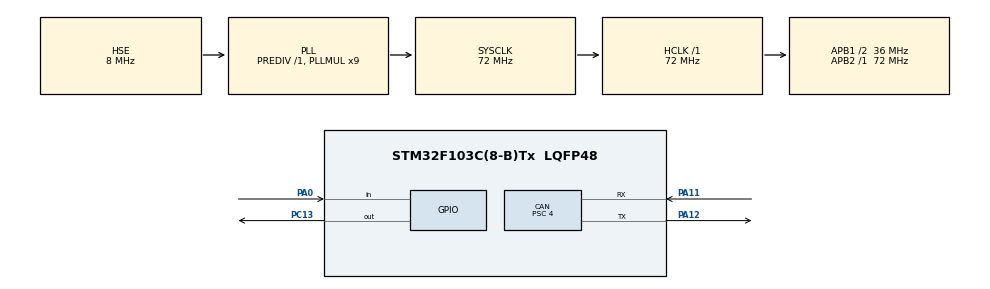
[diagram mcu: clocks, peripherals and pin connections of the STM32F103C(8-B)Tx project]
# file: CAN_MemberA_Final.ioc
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CAN.ABOM=ENABLE
CAN.BS1=CAN_BS1_15TQ
CAN.BS2=CAN_BS2_2TQ
CAN.CalculateBaudRate=500000
CAN.CalculateTimeBit=2000
CAN.CalculateTimeQuantum=111.11111111111111
CAN.NART=ENABLE
CAN.Prescaler=4
Mcu.Family=STM32F1
Mcu.Name=STM32F103C(8-B)Tx
Mcu.Package=LQFP48
NVIC.PriorityGroup=NVIC_PRIORITYGROUP_4
PA0-WKUP.GPIO_PuPd=GPIO_PULLUP
PA0-WKUP.Signal=GPIO_Input
PA11.Mode=CAN_Activate
PA11.Signal=CAN_RX
PA12.Mode=CAN_Activate
PA12.Signal=CAN_TX
PA13.Mode=Serial_Wire
PA13.Signal=SYS_JTMS-SWDIO
PA14.Mode=Serial_Wire
PA14.Signal=SYS_JTCK-SWCLK
PC13-TAMPER-RTC.PinState=GPIO_PIN_SET
PC13-TAMPER-RTC.Signal=GPIO_Output
PD0-OSC_IN.Mode=HSE-External-Oscillator
PD0-OSC_IN.Signal=RCC_OSC_IN
PD1-OSC_OUT.Mode=HSE-External-Oscillator
PD1-OSC_OUT.Signal=RCC_OSC_OUT
ProjectManager.HeapSize=0x200
ProjectManager.StackSize=0x400
ProjectManager.TargetToolchain=STM32CubeIDE
RCC.AHBFreq_Value=72000000
RCC.APB1CLKDivider=RCC_HCLK_DIV2
RCC.APB1Freq_Value=36000000
RCC.APB1TimFreq_Value=72000000
RCC.APB2Freq_Value=72000000
RCC.APB2TimFreq_Value=72000000
RCC.HCLKFreq_Value=72000000
RCC.PLLMUL=RCC_PLL_MUL9
RCC.PLLSourceVirtual=RCC_PLLSOURCE_HSE
RCC.SYSCLKFreq_VALUE=72000000
RCC.SYSCLKSource=RCC_SYSCLKSOURCE_PLLCLK
RCC.USBFreq_Value=72000000
board=custom

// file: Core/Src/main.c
/* USER CODE BEGIN Header */
/**
  ******************************************************************************
  * @file           : main.c
  * @brief          : Main program body
  ******************************************************************************
  * @attention
  *
  * Copyright (c) 2026 STMicroelectronics.
  * All rights reserved.
  *
  * This software is licensed under terms that can be found in the LICENSE file
  * in the root directory of this software component.
  * If no LICENSE file comes with this software, it is provided AS-IS.
  *
  ******************************************************************************
  */
/* USER CODE END Header */
#include "main.h"

/* USER CODE BEGIN Includes */
#include <stdbool.h>
#include <stdint.h>
#include <string.h>
/* USER CODE END Includes */

/* USER CODE BEGIN PD */
/* CAN message */
#define CAN_MSG_STD_ID     0x123U
#define CAN_MSG_STRING     "ASURT_LV"
#define CAN_MSG_LEN        (sizeof(CAN_MSG_STRING) - 1U)

/* Button */
#define BTN_PORT           GPIOA
#define BTN_PIN            GPIO_PIN_0
#define BTN_PRESSED_LEVEL  GPIO_PIN_RESET
#define DEBOUNCE_MS        30U

/* LED */
#define LED_PORT           GPIOC
#define LED_PIN            GPIO_PIN_13
#define LED_ON()           HAL_GPIO_WritePin(LED_PORT, LED_PIN, GPIO_PIN_RESET)
#define LED_OFF()          HAL_GPIO_WritePin(LED_PORT, LED_PIN, GPIO_PIN_SET)

#define TX_TIMEOUT_MS      20U

_Static_assert((sizeof(CAN_MSG_STRING) - 1U) <= 8U,
               "CAN_MSG_STRING must be 8 characters or less");
/* USER CODE END PD */

CAN_HandleTypeDef hcan;

/* USER CODE BEGIN PV */
/* frame */
static CAN_TxHeaderTypeDef txHeader;
static uint8_t             txData[8];
/* USER CODE END PV */

void SystemClock_Config(void);
static void MX_GPIO_Init(void);
static void MX_CAN_Init(void);
/* USER CODE BEGIN PFP */
static bool              Button_IsDown(void);
static void              CAN_Tx_Init(void);
static HAL_StatusTypeDef CAN_SendString(void);
static void              LED_Blink(uint8_t count, uint32_t on_ms, uint32_t off_ms);
/* USER CODE END PFP */

int main(void)
{

  /* MCU Configuration--------------------------------------------------------*/

  /* Reset of all peripherals, Initializes the Flash interface and the Systick. */
  HAL_Init();

  /* clock */
  SystemClock_Config();

  /* Initialize */
  MX_GPIO_Init();
  MX_CAN_Init();
  /* USER CODE BEGIN 2 */
  CAN_Tx_Init();

  /* Button state */
  bool     lastDown     = Button_IsDown();
  bool     stableDown   = lastDown;
  uint32_t lastChangeMs = HAL_GetTick();
  /* USER CODE END 2 */

  /* Infinite loop */
  while (1)
  {

    /* USER CODE BEGIN 3 */
    bool down = Button_IsDown();

    if (down != lastDown)
    {
      lastDown     = down;
      lastChangeMs = HAL_GetTick();
    }

    if ((down != stableDown) &&
        ((HAL_GetTick() - lastChangeMs) >= DEBOUNCE_MS))
    {
      stableDown = down;

      if (stableDown)
      {
        if (CAN_SendString() == HAL_OK)
        {
          LED_Blink(1U, 40U, 1U);
        }
        else
        {
          LED_Blink(5U, 60U, 60U);
        }
      }
    }
  }
  /* USER CODE END 3 */
}

void SystemClock_Config(void)
{
  RCC_OscInitTypeDef RCC_OscInitStruct = {0};
  RCC_ClkInitTypeDef RCC_ClkInitStruct = {0};

  /** Initializes the RCC Oscillators according to the specified parameters
  * in the RCC_OscInitTypeDef structure.
  */
  RCC_OscInitStruct.OscillatorType = RCC_OSCILLATORTYPE_HSE;
  RCC_OscInitStruct.HSEState = RCC_HSE_ON;
  RCC_OscInitStruct.HSEPredivValue = RCC_HSE_PREDIV_DIV1;
  RCC_OscInitStruct.HSIState = RCC_HSI_ON;
  RCC_OscInitStruct.PLL.PLLState = RCC_PLL_ON;
  RCC_OscInitStruct.PLL.PLLSource = RCC_PLLSOURCE_HSE;
  RCC_OscInitStruct.PLL.PLLMUL = RCC_PLL_MUL9;
  if (HAL_RCC_OscConfig(&RCC_OscInitStruct) != HAL_OK)
  {
    Error_Handler();
  }

  /** Initializes the CPU, AHB and APB buses clocks
  */
  RCC_ClkInitStruct.ClockType = RCC_CLOCKTYPE_HCLK|RCC_CLOCKTYPE_SYSCLK
                              |RCC_CLOCKTYPE_PCLK1|RCC_CLOCKTYPE_PCLK2;
  RCC_ClkInitStruct.SYSCLKSource = RCC_SYSCLKSOURCE_PLLCLK;
  RCC_ClkInitStruct.AHBCLKDivider = RCC_SYSCLK_DIV1;
  RCC_ClkInitStruct.APB1CLKDivider = RCC_HCLK_DIV2;
  RCC_ClkInitStruct.APB2CLKDivider = RCC_HCLK_DIV1;

  if (HAL_RCC_ClockConfig(&RCC_ClkInitStruct, FLASH_LATENCY_2) != HAL_OK)
  {
    Error_Handler();
  }
}

static void MX_CAN_Init(void)
{

  hcan.Instance = CAN1;
  hcan.Init.Prescaler = 4;
  hcan.Init.Mode = CAN_MODE_NORMAL;
  hcan.Init.SyncJumpWidth = CAN_SJW_1TQ;
  hcan.Init.TimeSeg1 = CAN_BS1_15TQ;
  hcan.Init.TimeSeg2 = CAN_BS2_2TQ;
  hcan.Init.TimeTriggeredMode = DISABLE;
  hcan.Init.AutoBusOff = ENABLE;
  hcan.Init.AutoWakeUp = DISABLE;
  hcan.Init.AutoRetransmission = ENABLE;
  hcan.Init.ReceiveFifoLocked = DISABLE;
  hcan.Init.TransmitFifoPriority = DISABLE;
  if (HAL_CAN_Init(&hcan) != HAL_OK)
  {
    Error_Handler();
  }

}

static void MX_GPIO_Init(void)
{
  GPIO_InitTypeDef GPIO_InitStruct = {0};

  /* GPIO Ports Clock Enable */
  __HAL_RCC_GPIOC_CLK_ENABLE();
  __HAL_RCC_GPIOD_CLK_ENABLE();
  __HAL_RCC_GPIOA_CLK_ENABLE();

  /*Configure GPIO pin Output Level */
  HAL_GPIO_WritePin(GPIOC, GPIO_PIN_13, GPIO_PIN_SET);

  /*Configure GPIO pin : PC13 */
  GPIO_InitStruct.Pin = GPIO_PIN_13;
  GPIO_InitStruct.Mode = GPIO_MODE_OUTPUT_PP;
  GPIO_InitStruct.Speed = GPIO_SPEED_FREQ_LOW;
  HAL_GPIO_Init(GPIOC, &GPIO_InitStruct);

  /*Configure GPIO pin : PA0 */
  GPIO_InitStruct.Pin = GPIO_PIN_0;
  GPIO_InitStruct.Mode = GPIO_MODE_INPUT;
  GPIO_InitStruct.Pull = GPIO_PULLUP;
  HAL_GPIO_Init(GPIOA, &GPIO_InitStruct);
}

/* USER CODE BEGIN 4 */

/**
  * @brief  True while the button is held down (raw, not debounced).
  */
static bool Button_IsDown(void)
{
  return (HAL_GPIO_ReadPin(BTN_PORT, BTN_PIN) == BTN_PRESSED_LEVEL);
}

/**
  * @brief  Fill in the TX header and payload, then start CAN.
  *         Node A only sends, so there's no RX filter.
  */
static void CAN_Tx_Init(void)
{
  txHeader.StdId              = CAN_MSG_STD_ID;
  txHeader.ExtId              = 0U;
  txHeader.IDE                = CAN_ID_STD;
  txHeader.RTR                = CAN_RTR_DATA;
  txHeader.DLC                = CAN_MSG_LEN;
  txHeader.TransmitGlobalTime = DISABLE;

  memset(txData, 0, sizeof(txData));
  memcpy(txData, CAN_MSG_STRING, CAN_MSG_LEN);

  if (HAL_CAN_Start(&hcan) != HAL_OK)
  {
    Error_Handler();
  }
}

/**
  Queue the frame
  */
static HAL_StatusTypeDef CAN_SendString(void)
{
  uint32_t mailbox;
  uint32_t t0;

  if (HAL_CAN_GetTxMailboxesFreeLevel(&hcan) == 0U)
  {
    return HAL_BUSY;
  }

  if (HAL_CAN_AddTxMessage(&hcan, &txHeader, txData, &mailbox) != HAL_OK)
  {
    return HAL_ERROR;
  }

  /* The mailbox empties */
  t0 = HAL_GetTick();
  while (HAL_CAN_IsTxMessagePending(&hcan, mailbox) != 0U)
  {
    if ((HAL_GetTick() - t0) > TX_TIMEOUT_MS)
    {
      (void)HAL_CAN_AbortTxRequest(&hcan, mailbox);
      return HAL_TIMEOUT;
    }
  }

  return HAL_OK;
}

/*  Blink the  LED
  */
static void LED_Blink(uint8_t count, uint32_t on_ms, uint32_t off_ms)
{
  while (count > 0U)
  {
    LED_ON();
    HAL_Delay(on_ms);
    LED_OFF();
    HAL_Delay(off_ms);
    count--;
  }
}

/* USER CODE END 4 */

/*
 * Error handler
  */
void Error_Handler(void)
{

  GPIO_InitTypeDef gpio = {0};

  __disable_irq();
  __HAL_RCC_GPIOC_CLK_ENABLE();
  gpio.Pin   = GPIO_PIN_13;
  gpio.Mode  = GPIO_MODE_OUTPUT_PP;
  gpio.Speed = GPIO_SPEED_FREQ_LOW;
  HAL_GPIO_Init(GPIOC, &gpio);

  while (1)
  {
    HAL_GPIO_TogglePin(GPIOC, GPIO_PIN_13);
    for (volatile uint32_t i = 0U; i < 400000U; i++)
    {
      __NOP();
    }
  }
  /* USER CODE END Error_Handler_Debug */
}
